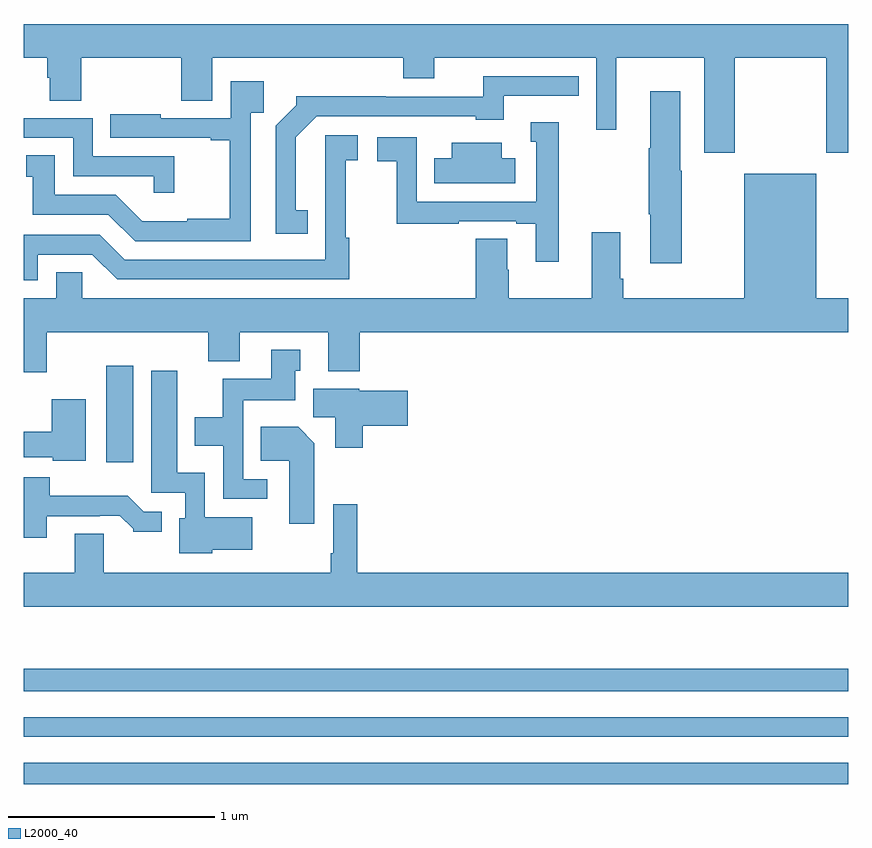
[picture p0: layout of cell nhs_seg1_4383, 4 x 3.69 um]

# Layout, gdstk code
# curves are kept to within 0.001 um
import gdstk
lib = gdstk.Library(unit=1e-6, precision=1e-09)
def R(c, l, rs):  # rectangles x0, y0, x1, y1
    for r in rs: c.add(gdstk.rectangle(r[:2], r[2:], *l))
def P(c, l, *ps):  # polygons
    for p in ps: c.add(gdstk.Polygon(p, *l))
L2000_40 = (2000, 40)

nhs_seg1_4383 = lib.new_cell('nhs_seg1_4383')
R(nhs_seg1_4383, L2000_40, [(349,556.199,353,556.302), (349,556.428,353,556.524), (349,556.65,353,556.759), (349.4,557.76,349.531,558.229)])
P(nhs_seg1_4383, L2000_40, [(352.449,559.724),(352.894,559.724),(352.894,559.263),(353,559.263),(353,559.888),(349,559.888),(349,559.724),(349.112,559.724),(349.112,559.626),(349.124,559.626),(349.124,559.516),(349.277,559.516),(349.277,559.724),(349.763,559.724),(349.763,559.516),(349.915,559.516),(349.915,559.724),(350.84,559.724),(350.84,559.625),(350.992,559.625),(350.992,559.724),(351.777,559.724),(351.777,559.374),(351.874,559.374),(351.874,559.724),(352.301,559.724),(352.301,559.263),(352.449,559.263)],
  [(350.378,558.983),(350.32,558.983),(350.32,559.339),(350.421,559.44),(351.192,559.44),(351.192,559.424),(351.328,559.424),(351.328,559.539),(351.692,559.539),(351.692,559.635),(351.229,559.635),(351.229,559.536),(350.756,559.536),(350.756,559.538),(350.322,559.538),(350.322,559.493),(350.223,559.394),(350.223,558.87),(350.378,558.87)],
  [(350.1,559.457),(350.165,559.457),(350.165,559.609),(350.004,559.609),(350.004,559.431),(349.663,559.431),(349.663,559.45),(349.42,559.45),(349.42,559.335),(349.907,559.335),(349.907,559.323),(349.999,559.323),(349.999,558.943),(349.793,558.943),(349.793,558.931),(349.574,558.931),(349.446,559.059),(349.15,559.059),(349.15,559.25),(349.01,559.25),(349.01,559.147),(349.043,559.147),(349.043,558.963),(349.41,558.963),(349.539,558.834),(350.1,558.834)],
  [(352.194,559.175),(352.186,559.175),(352.186,559.561),(352.04,559.561),(352.04,559.286),(352.033,559.286),(352.033,558.964),(352.04,558.964),(352.04,558.726),(352.194,558.726)],
  [(349.73,559.245),(349.335,559.245),(349.335,559.431),(349,559.431),(349,559.335),(349.239,559.335),(349.239,559.149),(349.629,559.149),(349.629,559.068),(349.73,559.068)],
  [(351.595,559.411),(351.461,559.411),(351.461,559.317),(351.486,559.317),(351.486,559.026),(350.907,559.026),(350.907,559.338),(350.715,559.338),(350.715,559.222),(350.809,559.222),(350.809,558.918),(351.11,558.918),(351.11,558.93),(351.389,558.93),(351.389,558.918),(351.485,558.918),(351.485,558.735),(351.595,558.735)],
  [(349.068,558.768),(349.332,558.768),(349.452,558.648),(350.579,558.648),(350.579,558.851),(350.562,558.851),(350.562,559.227),(350.62,559.227),(350.62,559.348),(350.462,559.348),(350.463,558.744),(349.488,558.744),(349.368,558.864),(349,558.864),(349,558.645),(349.068,558.645)],
  [(351.385,559.237),(351.319,559.237),(351.319,559.312),(351.077,559.312),(351.077,559.237),(350.992,559.237),(350.992,559.115),(351.385,559.115)],
  [(349.111,558.392),(349.895,558.392),(349.895,558.251),(350.047,558.251),(350.047,558.392),(350.477,558.392),(350.477,558.203),(350.63,558.203),(350.63,558.392),(353,558.392),(353,558.556),(352.846,558.556),(352.846,559.162),(352.496,559.162),(352.496,558.556),(351.908,558.556),(351.908,558.652),(351.895,558.652),(351.895,558.877),(351.755,558.877),(351.755,558.556),(351.354,558.556),(351.354,558.695),(351.346,558.695),(351.346,558.845),(351.194,558.845),(351.194,558.556),(349.284,558.556),(349.284,558.683),(349.157,558.683),(349.157,558.556),(349,558.556),(349,558.198),(349.111,558.198)],
  [(350.182,557.679),(350.064,557.679),(350.064,558.062),(350.317,558.062),(350.317,558.204),(350.341,558.204),(350.341,558.307),(350.201,558.307),(350.201,558.166),(349.966,558.166),(349.966,557.98),(349.829,557.98),(349.829,557.84),(349.968,557.84),(349.968,557.583),(350.182,557.583)],
  [(349.914,557.336),(350.107,557.336),(350.107,557.494),(349.878,557.494),(349.878,557.71),(349.744,557.71),(349.744,558.205),(349.619,558.205),(349.619,557.613),(349.782,557.613),(349.782,557.49),(349.754,557.49),(349.754,557.318),(349.914,557.318)],
  [(350.645,557.939),(350.863,557.939),(350.863,558.109),(350.628,558.109),(350.628,558.118),(350.405,558.118),(350.405,557.98),(350.51,557.98),(350.51,557.832),(350.645,557.832)],
  [(349.3,558.067),(349.136,558.067),(349.136,557.908),(349,557.908),(349,557.786),(349.14,557.786),(349.14,557.768),(349.3,557.768)],
  [(350.41,557.854),(350.332,557.932),(350.149,557.932),(350.149,557.768),(350.288,557.768),(350.288,557.463),(350.41,557.463)],
  [(349.111,557.499),(349.367,557.499),(349.367,557.502),(349.466,557.502),(349.53,557.438),(349.53,557.423),(349.669,557.423),(349.669,557.52),(349.581,557.52),(349.503,557.599),(349.124,557.599),(349.124,557.689),(349,557.689),(349,557.394),(349.111,557.394)],
  [(353,557.224),(350.618,557.224),(350.618,557.557),(350.502,557.557),(350.502,557.32),(350.49,557.32),(350.49,557.224),(349.387,557.224),(349.387,557.414),(349.247,557.414),(349.247,557.224),(349,557.224),(349,557.06),(353,557.06)])

lib.write_gds('nhs_seg1_4383.gds')
